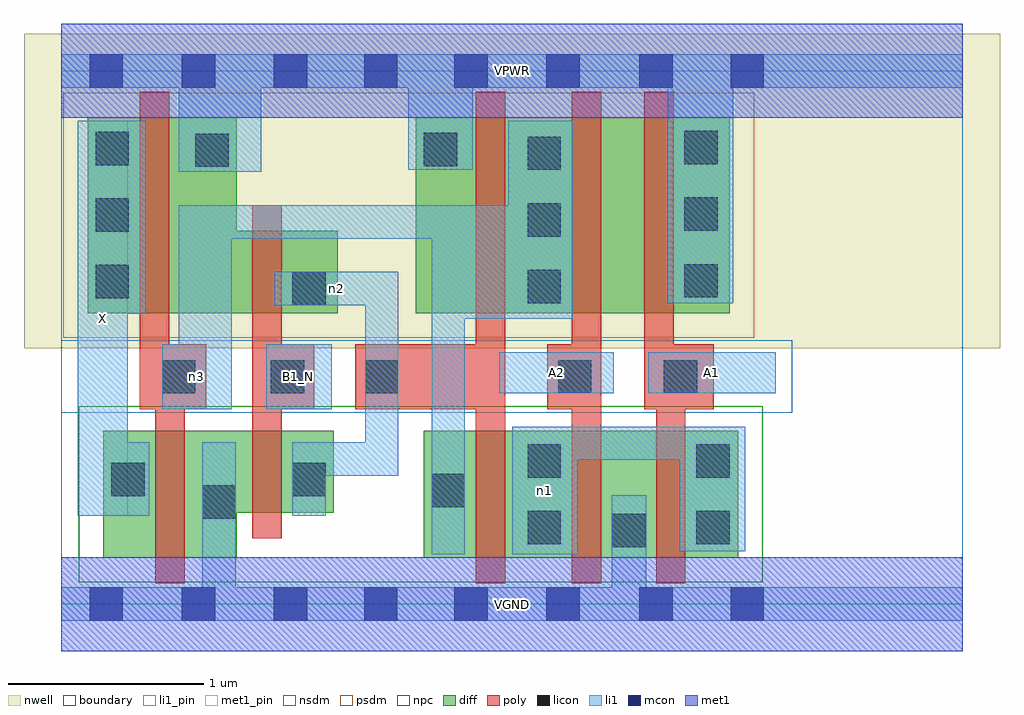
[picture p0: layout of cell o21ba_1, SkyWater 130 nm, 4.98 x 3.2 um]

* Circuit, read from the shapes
.subckt o21ba_1 A1 A2 B1_N VGND VPWR X n1 n2 n3
XM1 VGND n3 X VSUBS sky130_fd_pr__nfet_01v8 w=0.65 l=0.15
XM2 n2 B1_N VGND VSUBS sky130_fd_pr__nfet_01v8 w=0.42 l=0.15
XM3 n1 n2 n3 VSUBS sky130_fd_pr__nfet_01v8 w=0.65 l=0.15
XM4 VGND A2 n1 VSUBS sky130_fd_pr__nfet_01v8 w=0.65 l=0.15
XM5 n1 A1 VGND VSUBS sky130_fd_pr__nfet_01v8 w=0.65 l=0.15
XM6 VPWR n3 X n4 sky130_fd_pr__pfet_01v8 w=1 l=0.15
XM7 n2 B1_N VPWR n4 sky130_fd_pr__pfet_01v8 w=0.42 l=0.15
XM8 n3 n2 VPWR n4 sky130_fd_pr__pfet_01v8 w=1 l=0.15
XM9 n5 A2 n3 n4 sky130_fd_pr__pfet_01v8 w=1 l=0.15
XM10 VPWR A1 n5 n4 sky130_fd_pr__pfet_01v8 w=1 l=0.15
.ends

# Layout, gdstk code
import gdstk
lib = gdstk.Library(unit=1e-6, precision=1e-09)
def R(c, l, rs):  # rectangles x0, y0, x1, y1
    for r in rs: c.add(gdstk.rectangle(r[:2], r[2:], *l))
def A(c, l, x, y, w, h, nx, ny, dx, dy):  # array of equal rectangles
    R(c, l, [(x+i*dx, y+j*dy, x+i*dx+w, y+j*dy+h) for i in range(nx) for j in range(ny)])
nwell = (64, 20)
diff = (65, 20)
poly = (66, 20)
licon = (66, 44)
li1_pin = (67, 16)
li1 = (67, 20)
mcon = (67, 44)
met1_pin = (68, 16)
met1 = (68, 20)
nsdm = (93, 44)
psdm = (94, 20)
npc = (95, 20)
boundary = (235, 4)

o21ba_1 = lib.new_cell('o21ba_1')
R(o21ba_1, nwell, [(-0.19,1.305,4.79,2.91), (0,1.305,4.6,2.91)])
R(o21ba_1, diff, [(0.215,0.235,0.895,0.885), (1.85,0.235,3.455,0.885), (0.215,0.465,1.39,0.885), (0.135,1.485,0.895,2.485), (0.135,1.485,1.41,1.905), (1.81,1.485,3.41,2.485)])
R(o21ba_1, poly, [(0.48,0.105,0.63,1.325), (2.115,0.105,2.265,2.615), (2.605,0.105,2.755,2.615), (3.035,0.105,3.185,1.325), (0.975,0.335,1.125,2.035), (0.4,0.995,0.55,2.615), (0.4,0.995,0.74,1.325), (0.975,0.995,1.29,1.325), (1.5,0.995,2.265,1.325), (2.48,0.995,2.755,1.325), (2.975,0.995,3.125,2.615), (2.975,0.995,3.33,1.325)])
A(o21ba_1, licon, 2.38, 1.535, 0.17, 0.17, 1, 3, 0, 0.34)
A(o21ba_1, licon, 0.175, 1.56, 0.17, 0.17, 1, 3, 0, 0.34)
A(o21ba_1, licon, 3.18, 1.565, 0.17, 0.17, 1, 3, 0, 0.34)
R(o21ba_1, licon, [(2.81,0.29,2.98,0.46), (2.38,0.305,2.55,0.475), (3.24,0.305,3.41,0.475), (0.72,0.435,0.89,0.605), (1.89,0.495,2.06,0.665), (0.255,0.55,0.425,0.72), (1.18,0.55,1.35,0.72), (2.38,0.645,2.55,0.815), (3.24,0.645,3.41,0.815), (0.515,1.075,0.685,1.245), (1.07,1.075,1.24,1.245), (1.55,1.075,1.72,1.245), (2.535,1.075,2.705,1.245), (3.075,1.075,3.245,1.245), (1.18,1.525,1.35,1.695), (0.685,2.23,0.855,2.4), (1.85,2.235,2.02,2.405)])
R(o21ba_1, li1_pin, [(0.085,0.45,0.34,2.465), (1.045,0.995,1.38,1.325), (2.235,1.075,2.82,1.285), (2.995,1.075,3.645,1.285)])
R(o21ba_1, li1, [(0,-0.085,4.6,0.085), (0.72,-0.085,0.89,0.825), (2.81,-0.085,2.985,0.555), (1.89,0.255,2.06,2.035), (2.3,0.255,2.635,0.905), (3.155,0.27,3.49,0.905), (0.085,0.45,0.34,2.465), (0.085,0.45,0.45,0.825), (1.18,0.45,1.35,0.825), (1.18,0.655,1.72,0.825), (1.55,0.655,1.72,1.695), (2.3,0.735,3.49,0.905), (0.515,0.995,0.87,1.325), (0.6,0.995,0.87,2.035), (1.045,0.995,1.38,1.325), (2.235,1.075,2.82,1.285), (2.995,1.075,3.645,1.285), (1.89,1.455,2.61,2.035), (2.28,1.455,2.61,2.465), (0.085,1.48,0.43,2.465), (1.09,1.525,1.72,1.695), (3.095,1.535,3.43,2.805), (0.6,1.865,2.61,2.035), (0.6,2.205,1.02,2.805), (1.77,2.215,2.1,2.805), (0,2.635,4.6,2.805)])
A(o21ba_1, mcon, 0.145, -0.085, 0.17, 0.17, 3, 2, 0.47, 2.72)
R(o21ba_1, mcon, [(1.545,-0.085,1.715,0.085), (2.005,-0.085,2.175,0.085), (2.475,-0.085,2.645,0.085), (2.95,-0.085,3.12,0.085), (3.415,-0.085,3.585,0.085), (1.545,2.635,1.715,2.805), (2.005,2.635,2.175,2.805), (2.475,2.635,2.645,2.805), (2.95,2.635,3.12,2.805), (3.415,2.635,3.585,2.805)])
R(o21ba_1, met1_pin, [(0,-0.24,4.6,0.24), (0,2.48,4.6,2.96)])
R(o21ba_1, met1, [(0,-0.24,4.6,0.24), (0,2.48,4.6,2.96)])
R(o21ba_1, nsdm, [(0.09,0.11,3.58,1.01)])
R(o21ba_1, psdm, [(0.01,1.36,3.535,2.61)])
R(o21ba_1, npc, [(0,0.975,3.73,1.345)])
R(o21ba_1, boundary, [(0,0,4.6,2.72)])
o21ba_1.add(gdstk.Label('A1', (3.32,1.18), layer=67, texttype=5))
o21ba_1.add(gdstk.Label('A2', (2.527,1.18), layer=67, texttype=5))
o21ba_1.add(gdstk.Label('B1_N', (1.212,1.16), layer=67, texttype=5))
o21ba_1.add(gdstk.Label('X', (0.212,1.457), layer=67, texttype=5))
o21ba_1.add(gdstk.Label('n1', (2.467,0.58), layer=67, texttype=5))
o21ba_1.add(gdstk.Label('n2', (1.405,1.61), layer=67, texttype=5))
o21ba_1.add(gdstk.Label('n3', (0.692,1.16), layer=67, texttype=5))
o21ba_1.add(gdstk.Label('VPWR', (2.3,2.72), layer=68, texttype=5))
o21ba_1.add(gdstk.Label('VGND', (2.3,0), layer=68, texttype=5))
o21ba_1.add(gdstk.Label('A1', (3.32,1.18), layer=67, texttype=16))
o21ba_1.add(gdstk.Label('A2', (2.527,1.18), layer=67, texttype=16))
o21ba_1.add(gdstk.Label('B1_N', (1.212,1.16), layer=67, texttype=16))
o21ba_1.add(gdstk.Label('X', (0.212,1.457), layer=67, texttype=16))
o21ba_1.add(gdstk.Label('VPWR', (2.3,2.72), layer=68, texttype=16))
o21ba_1.add(gdstk.Label('VGND', (2.3,0), layer=68, texttype=16))

lib.write_gds('o21ba_1.gds')
